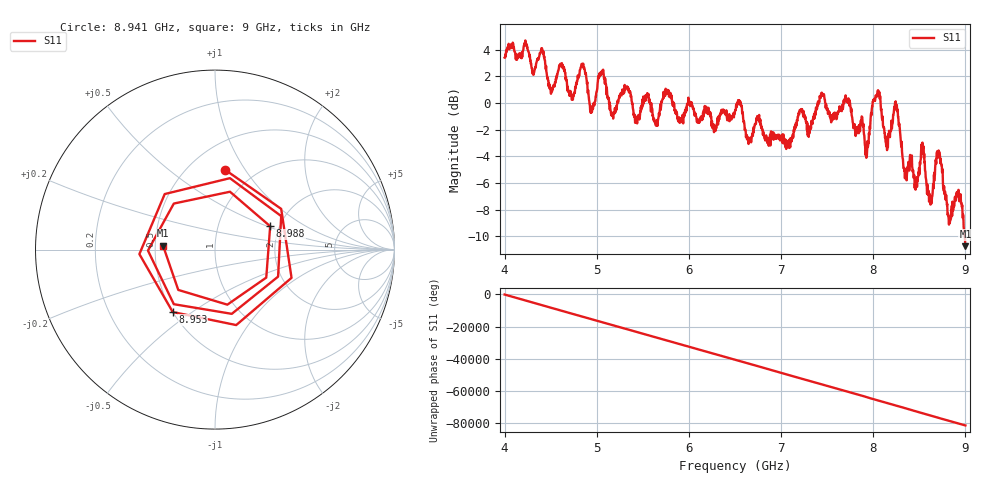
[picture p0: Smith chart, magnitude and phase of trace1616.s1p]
! Created with skrf 1.8.0 (http://scikit-rf.org).
# Hz S RI R 50.0
!freq ReS11 ImS11
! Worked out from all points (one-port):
!   1601 points, 4 GHz to 9 GHz, reference 50 ohm
!   lowest |S11| = -10.8 dB at 9 GHz (marker M1), VSWR 1.82, Z = 27.5 + j1.27 ohm
!   |S11| at or under -10 dB: 8.993497 GHz to end of sweep
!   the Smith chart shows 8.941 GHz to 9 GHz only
!   S11 on the Smith chart (normalised r, x): 8.941 GHz: 0.73, +0.82; 8.953 GHz: 0.50, -0.42; 8.988 GHz: 1.79, +0.52; 9 GHz: 0.55, +0.03
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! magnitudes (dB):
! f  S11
! 4 GHz  3.4
! 4.406 GHz  4.1
! 4.503 GHz  0.7
! 4.625 GHz  2.7
! 4.728 GHz  0.2
! 4.856 GHz  2.6
! 4.947 GHz  -0.7
! 5.05 GHz  2.2
! 5.166 GHz  -0.7
! 5.25 GHz  0.6
! 5.875 GHz  -1.2
! 6.5 GHz  -0.6
! 7.125 GHz  -2.5
! 7.444 GHz  0.7
! 7.75 GHz  -0.1
! 7.925 GHz  -4.1
! 8.034 GHz  0.5
! 8.144 GHz  -2.6
! 8.247 GHz  -0.2
! 8.375 GHz  -5.0
! 8.538 GHz  -3.3
! 8.619 GHz  -7.0
! 8.712 GHz  -3.7
! 8.822 GHz  -9.1
! 8.941 GHz  -7.0
! 8.953 GHz  -7.5
! 8.988 GHz  -9.5
! 9 GHz  -10.8
